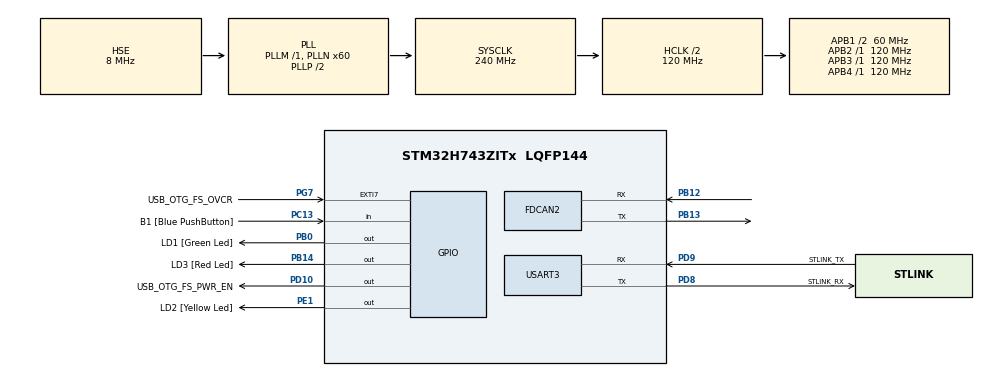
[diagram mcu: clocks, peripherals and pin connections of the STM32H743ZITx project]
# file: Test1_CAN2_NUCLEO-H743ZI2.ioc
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Mcu.Family=STM32H7
RCC.CortexFreq_Value=240000000
RCC.HPRE=RCC_HCLK_DIV2
PH0-OSC_IN\ (PH0).Signal=RCC_OSC_IN
PB14.GPIO_Label=LD3 [Red Led]
PC15-OSC32_OUT\ (OSC32_OUT).Mode=LSE-External-Oscillator
FDCAN2.RxFifo0ElmtsNbr=1
RCC.PLLFRACN=0
PB0.GPIO_Label=LD1 [Green Led]
RCC.PLL2FRACN=0
PC13.GPIO_Label=B1 [Blue PushButton]
PB13.Signal=FDCAN2_TX
PD9.Mode=Asynchronous
RCC.SYSCLKSource=RCC_SYSCLKSOURCE_PLLCLK
ProjectManager.StackSize=0x400
USART3.VirtualMode-Asynchronous=VM_ASYNC
RCC.HCLKFreq_Value=120000000
PD0.Signal=FDCAN1_RX
PD8.Signal=USART3_TX
PE1.Signal=GPIO_Output
RCC.HSE_VALUE=8000000
RCC.DIVM2=2
RCC.DIVM1=1
PD1.GPIO_Speed=GPIO_SPEED_FREQ_VERY_HIGH
FDCAN2.NominalSyncJumpWidth=8
RCC.APB3Freq_Value=120000000
Mcu.Package=LQFP144
PB12.Mode=FDCAN_Activate
RCC.PLL3FRACN=0
PC14-OSC32_IN\ (OSC32_IN).Mode=LSE-External-Oscillator
RCC.APB4Freq_Value=120000000
RCC.FDCANCLockSelection=RCC_FDCANCLKSOURCE_PLL2
PB13.Mode=FDCAN_Activate
FDCAN2.StdFiltersNbr=1
PH0-OSC_IN\ (PH0).Mode=HSE-External-Clock-Source
RCC.PLLSourceVirtual=RCC_PLLSOURCE_HSE
RCC.DIVQ2=14
RCC.DIVQ1=12
PG7.Signal=GPXTI7
PD9.GPIO_Label=STLINK_TX
FDCAN2.ProtocolException=ENABLE
PC13.Signal=GPIO_Input
PD1.Signal=FDCAN1_TX
RCC.D2PPRE1=RCC_APB1_DIV2
PD9.Signal=USART3_RX
RCC.PWR_Regulator_Voltage_Scale=PWR_REGULATOR_VOLTAGE_SCALE2
PH1-OSC_OUT\ (PH1).Signal=RCC_OSC_OUT
PD0.GPIO_Speed=GPIO_SPEED_FREQ_VERY_HIGH
NVIC.FDCAN2_IT0_IRQn=true\:0\:0\:false\:false\:true\:true\:true
PD8.GPIO_Label=STLINK_RX
FDCAN2.NominalTimeSeg1=31
PD10.Signal=GPIO_Output
FDCAN2.NominalTimeSeg2=8
ProjectManager.TargetToolchain=STM32CubeIDE
PC15-OSC32_OUT\ (OSC32_OUT).Signal=RCC_OSC32_OUT
RCC.DIVN2=140
RCC.DIVN1=60
RCC.USBFreq_Value=40000000
PD10.GPIO_Label=USB_OTG_FS_PWR_EN
PD8.Mode=Asynchronous
PB14.Signal=GPIO_Output
board=NUCLEO-H743ZI2
PE1.GPIO_Label=LD2 [Yellow Led]
RCC.APB2Freq_Value=120000000
PG7.GPIO_Label=USB_OTG_FS_OVCR
RCC.ADCFreq_Value=280000000
Mcu.Name=STM32H743ZITx
RCC.SYSCLKFreq_VALUE=240000000
PC14-OSC32_IN\ (OSC32_IN).Signal=RCC_OSC32_IN
FDCAN2.AutoRetransmission=ENABLE
ProjectManager.HeapSize=0x200
NVIC.PriorityGroup=NVIC_PRIORITYGROUP_4
FDCAN2.TxFifoQueueElmtsNbr=1
RCC.APB1Freq_Value=60000000
PB0.Signal=GPIO_Output
PB12.Signal=FDCAN2_RX

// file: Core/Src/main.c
/* USER CODE BEGIN Header */
/**
  ******************************************************************************
  * @file           : main.c
  * @brief          : Main program body
  ******************************************************************************
  * @attention
  *
  * <h2><center>&copy; Copyright (c) 2021 STMicroelectronics.
  * All rights reserved.</center></h2>
  *
  * This software component is licensed by ST under BSD 3-Clause license,
  * the "License"; You may not use this file except in compliance with the
  * License. You may obtain a copy of the License at:
  *                        opensource.org/licenses/BSD-3-Clause
  *
  ******************************************************************************
  */
/* USER CODE END Header */
#include "main.h"

/* USER CODE BEGIN PTD */
#define ELEMS(p) (sizeof(p)/sizeof(p[0]))
/* USER CODE END PTD */

FDCAN_HandleTypeDef hfdcan2;

UART_HandleTypeDef huart3;

/* USER CODE BEGIN PV */

volatile unsigned long int Licznikms;
volatile uint16_t Timer_sys[6];
volatile unsigned long int uwTickms;
volatile unsigned int Tickms;
//volatile unsigned long int Ticks;
volatile unsigned long int g_COUNT_SEC;

uint32_t g_CAN_Error;
HAL_FDCAN_StateTypeDef g_CAN_State;
FDCAN_RxHeaderTypeDef RxHeader;
uint8_t RxData[8];
FDCAN_TxHeaderTypeDef TxHeader;
uint8_t TxData[8];

FDCAN_RxHeaderTypeDef RxHeader2;
uint8_t RxData2[8];
FDCAN_TxHeaderTypeDef TxHeader2;
uint8_t TxData2[8];

HAL_StatusTypeDef myState;
uint8_t myTxData[8];
uint32_t my_Data_Can;

/* USER CODE END PV */

void SystemClock_Config(void);
static void MX_GPIO_Init(void);
static void MX_USART3_UART_Init(void);
static void MX_FDCAN2_Init(void);

int main(void)
{

  /* MCU Configuration--------------------------------------------------------*/

  /* Reset of all peripherals, Initializes the Flash interface and the Systick. */
  HAL_Init();

  /* Configure the system clock */
  SystemClock_Config();

  /* Initialize all configured peripherals */
  MX_GPIO_Init();
  MX_USART3_UART_Init();
  MX_FDCAN2_Init();

  /* Infinite loop */
  while (1)
  {

    /* USER CODE BEGIN 3 */
	  if (Timer_sys[1] == 0)
	  {
		 Timer_sys[1] = 100;
		 HAL_GPIO_TogglePin(LD2_GPIO_Port,LD2_Pin);
		  my_Data_Can++;
		  myTxData[0] = my_Data_Can;
		  myTxData[1] = my_Data_Can >> 8;
		  myTxData[2] = my_Data_Can >> 16;
		  myTxData[3] = my_Data_Can >> 24;
		  //HAL_FDCAN_AddMessageToTxFifoQ(&hfdcan1, &TxHeader, myTxData);
		  //g_CAN_Error = HAL_FDCAN_GetError(&hfdcan1);
		  //g_CAN_State = HAL_FDCAN_GetState(&hfdcan1);

		  HAL_FDCAN_AddMessageToTxFifoQ(&hfdcan2, &TxHeader, myTxData);
		  g_CAN_Error = HAL_FDCAN_GetError(&hfdcan2);
		  g_CAN_State = HAL_FDCAN_GetState(&hfdcan2);
		  if (g_CAN_Error != 0) HAL_GPIO_TogglePin(LD3_GPIO_Port,LD3_Pin);

	  }
  }
  /* USER CODE END 3 */
}

void SystemClock_Config(void)
{
  RCC_OscInitTypeDef RCC_OscInitStruct = {0};
  RCC_ClkInitTypeDef RCC_ClkInitStruct = {0};

  /** Supply configuration update enable
  */
  HAL_PWREx_ConfigSupply(PWR_LDO_SUPPLY);
  /** Configure the main internal regulator output voltage
  */
  __HAL_PWR_VOLTAGESCALING_CONFIG(PWR_REGULATOR_VOLTAGE_SCALE2);

  while(!__HAL_PWR_GET_FLAG(PWR_FLAG_VOSRDY)) {}
  /** Macro to configure the PLL clock source
  */
  __HAL_RCC_PLL_PLLSOURCE_CONFIG(RCC_PLLSOURCE_HSE);
  /** Initializes the RCC Oscillators according to the specified parameters
  * in the RCC_OscInitTypeDef structure.
  */
  RCC_OscInitStruct.OscillatorType = RCC_OSCILLATORTYPE_HSE;
  RCC_OscInitStruct.HSEState = RCC_HSE_BYPASS;
  RCC_OscInitStruct.PLL.PLLState = RCC_PLL_ON;
  RCC_OscInitStruct.PLL.PLLSource = RCC_PLLSOURCE_HSE;
  RCC_OscInitStruct.PLL.PLLM = 1;
  RCC_OscInitStruct.PLL.PLLN = 60;
  RCC_OscInitStruct.PLL.PLLP = 2;
  RCC_OscInitStruct.PLL.PLLQ = 12;
  RCC_OscInitStruct.PLL.PLLR = 2;
  RCC_OscInitStruct.PLL.PLLRGE = RCC_PLL1VCIRANGE_3;
  RCC_OscInitStruct.PLL.PLLVCOSEL = RCC_PLL1VCOWIDE;
  RCC_OscInitStruct.PLL.PLLFRACN = 0;
  if (HAL_RCC_OscConfig(&RCC_OscInitStruct) != HAL_OK)
  {
    Error_Handler();
  }
  /** Initializes the CPU, AHB and APB buses clocks
  */
  RCC_ClkInitStruct.ClockType = RCC_CLOCKTYPE_HCLK|RCC_CLOCKTYPE_SYSCLK
                              |RCC_CLOCKTYPE_PCLK1|RCC_CLOCKTYPE_PCLK2
                              |RCC_CLOCKTYPE_D3PCLK1|RCC_CLOCKTYPE_D1PCLK1;
  RCC_ClkInitStruct.SYSCLKSource = RCC_SYSCLKSOURCE_PLLCLK;
  RCC_ClkInitStruct.SYSCLKDivider = RCC_SYSCLK_DIV1;
  RCC_ClkInitStruct.AHBCLKDivider = RCC_HCLK_DIV2;
  RCC_ClkInitStruct.APB3CLKDivider = RCC_APB3_DIV1;
  RCC_ClkInitStruct.APB1CLKDivider = RCC_APB1_DIV2;
  RCC_ClkInitStruct.APB2CLKDivider = RCC_APB2_DIV1;
  RCC_ClkInitStruct.APB4CLKDivider = RCC_APB4_DIV1;

  if (HAL_RCC_ClockConfig(&RCC_ClkInitStruct, FLASH_LATENCY_2) != HAL_OK)
  {
    Error_Handler();
  }
}

static void MX_FDCAN2_Init(void)
{

  hfdcan2.Instance = FDCAN2;
  hfdcan2.Init.FrameFormat = FDCAN_FRAME_CLASSIC;
  hfdcan2.Init.Mode = FDCAN_MODE_NORMAL;
  hfdcan2.Init.AutoRetransmission = ENABLE;
  hfdcan2.Init.TransmitPause = DISABLE;
  hfdcan2.Init.ProtocolException = ENABLE;
  hfdcan2.Init.NominalPrescaler = 1;
  hfdcan2.Init.NominalSyncJumpWidth = 8;
  hfdcan2.Init.NominalTimeSeg1 = 31;
  hfdcan2.Init.NominalTimeSeg2 = 8;
  hfdcan2.Init.DataPrescaler = 1;
  hfdcan2.Init.DataSyncJumpWidth = 1;
  hfdcan2.Init.DataTimeSeg1 = 1;
  hfdcan2.Init.DataTimeSeg2 = 1;
  hfdcan2.Init.MessageRAMOffset = 0;
  hfdcan2.Init.StdFiltersNbr = 1;
  hfdcan2.Init.ExtFiltersNbr = 0;
  hfdcan2.Init.RxFifo0ElmtsNbr = 1;
  hfdcan2.Init.RxFifo0ElmtSize = FDCAN_DATA_BYTES_8;
  hfdcan2.Init.RxFifo1ElmtsNbr = 0;
  hfdcan2.Init.RxFifo1ElmtSize = FDCAN_DATA_BYTES_8;
  hfdcan2.Init.RxBuffersNbr = 0;
  hfdcan2.Init.RxBufferSize = FDCAN_DATA_BYTES_8;
  hfdcan2.Init.TxEventsNbr = 0;
  hfdcan2.Init.TxBuffersNbr = 0;
  hfdcan2.Init.TxFifoQueueElmtsNbr = 1;
  hfdcan2.Init.TxFifoQueueMode = FDCAN_TX_FIFO_OPERATION;
  hfdcan2.Init.TxElmtSize = FDCAN_DATA_BYTES_8;
  if (HAL_FDCAN_Init(&hfdcan2) != HAL_OK)
  {
    Error_Handler();
  }
  /* USER CODE BEGIN FDCAN2_Init 2 */

  FDCAN_FilterTypeDef sFilterConfig;

  /* Configure Rx filter */
  sFilterConfig.IdType = FDCAN_STANDARD_ID;
  sFilterConfig.FilterIndex = 0;
  sFilterConfig.FilterType = FDCAN_FILTER_MASK;
  sFilterConfig.FilterConfig = FDCAN_FILTER_TO_RXFIFO0;
  sFilterConfig.FilterID1 = 0x321;
  sFilterConfig.FilterID2 = 0x7FF;
  if (HAL_FDCAN_ConfigFilter(&hfdcan2, &sFilterConfig) != HAL_OK)
  {
    /* Filter configuration Error */
    Error_Handler();
  }

  /* Configure global filter to reject all non-matching frames */
  HAL_FDCAN_ConfigGlobalFilter(&hfdcan2, FDCAN_REJECT, FDCAN_REJECT, FDCAN_REJECT_REMOTE, FDCAN_REJECT_REMOTE);

  /* Start the FDCAN module */
  if (HAL_FDCAN_Start(&hfdcan2) != HAL_OK)
  {
    /* Start Error */
    Error_Handler();
  }

  if (HAL_FDCAN_ActivateNotification(&hfdcan2, FDCAN_IT_RX_FIFO0_NEW_MESSAGE, 0) != HAL_OK)
  {
    /* Notification Error */
    Error_Handler();
  }

  /* Prepare Tx Header */
  TxHeader.Identifier = 0x321;
  TxHeader.IdType = FDCAN_STANDARD_ID;
  TxHeader.TxFrameType = FDCAN_DATA_FRAME;
  TxHeader.DataLength = FDCAN_DLC_BYTES_8;
  TxHeader.ErrorStateIndicator = FDCAN_ESI_ACTIVE;
  TxHeader.BitRateSwitch = FDCAN_BRS_OFF;
  TxHeader.FDFormat = FDCAN_CLASSIC_CAN;
  TxHeader.TxEventFifoControl = FDCAN_NO_TX_EVENTS;
  TxHeader.MessageMarker = 0;

  /* USER CODE END FDCAN2_Init 2 */

}

static void MX_USART3_UART_Init(void)
{

  huart3.Instance = USART3;
  huart3.Init.BaudRate = 115200;
  huart3.Init.WordLength = UART_WORDLENGTH_8B;
  huart3.Init.StopBits = UART_STOPBITS_1;
  huart3.Init.Parity = UART_PARITY_NONE;
  huart3.Init.Mode = UART_MODE_TX_RX;
  huart3.Init.HwFlowCtl = UART_HWCONTROL_NONE;
  huart3.Init.OverSampling = UART_OVERSAMPLING_16;
  huart3.Init.OneBitSampling = UART_ONE_BIT_SAMPLE_DISABLE;
  huart3.Init.ClockPrescaler = UART_PRESCALER_DIV1;
  huart3.AdvancedInit.AdvFeatureInit = UART_ADVFEATURE_NO_INIT;
  if (HAL_UART_Init(&huart3) != HAL_OK)
  {
    Error_Handler();
  }
  if (HAL_UARTEx_SetTxFifoThreshold(&huart3, UART_TXFIFO_THRESHOLD_1_8) != HAL_OK)
  {
    Error_Handler();
  }
  if (HAL_UARTEx_SetRxFifoThreshold(&huart3, UART_RXFIFO_THRESHOLD_1_8) != HAL_OK)
  {
    Error_Handler();
  }
  if (HAL_UARTEx_DisableFifoMode(&huart3) != HAL_OK)
  {
    Error_Handler();
  }

}

static void MX_GPIO_Init(void)
{
  GPIO_InitTypeDef GPIO_InitStruct = {0};

  /* GPIO Ports Clock Enable */
  __HAL_RCC_GPIOC_CLK_ENABLE();
  __HAL_RCC_GPIOH_CLK_ENABLE();
  __HAL_RCC_GPIOB_CLK_ENABLE();
  __HAL_RCC_GPIOD_CLK_ENABLE();
  __HAL_RCC_GPIOG_CLK_ENABLE();
  __HAL_RCC_GPIOE_CLK_ENABLE();

  /*Configure GPIO pin Output Level */
  HAL_GPIO_WritePin(GPIOB, LD1_Pin|LD3_Pin, GPIO_PIN_RESET);

  /*Configure GPIO pin Output Level */
  HAL_GPIO_WritePin(USB_OTG_FS_PWR_EN_GPIO_Port, USB_OTG_FS_PWR_EN_Pin, GPIO_PIN_RESET);

  /*Configure GPIO pin Output Level */
  HAL_GPIO_WritePin(LD2_GPIO_Port, LD2_Pin, GPIO_PIN_RESET);

  /*Configure GPIO pin : B1_Pin */
  GPIO_InitStruct.Pin = B1_Pin;
  GPIO_InitStruct.Mode = GPIO_MODE_INPUT;
  GPIO_InitStruct.Pull = GPIO_NOPULL;
  HAL_GPIO_Init(B1_GPIO_Port, &GPIO_InitStruct);

  /*Configure GPIO pins : LD1_Pin LD3_Pin */
  GPIO_InitStruct.Pin = LD1_Pin|LD3_Pin;
  GPIO_InitStruct.Mode = GPIO_MODE_OUTPUT_PP;
  GPIO_InitStruct.Pull = GPIO_NOPULL;
  GPIO_InitStruct.Speed = GPIO_SPEED_FREQ_LOW;
  HAL_GPIO_Init(GPIOB, &GPIO_InitStruct);

  /*Configure GPIO pin : USB_OTG_FS_PWR_EN_Pin */
  GPIO_InitStruct.Pin = USB_OTG_FS_PWR_EN_Pin;
  GPIO_InitStruct.Mode = GPIO_MODE_OUTPUT_PP;
  GPIO_InitStruct.Pull = GPIO_NOPULL;
  GPIO_InitStruct.Speed = GPIO_SPEED_FREQ_LOW;
  HAL_GPIO_Init(USB_OTG_FS_PWR_EN_GPIO_Port, &GPIO_InitStruct);

  /*Configure GPIO pin : USB_OTG_FS_OVCR_Pin */
  GPIO_InitStruct.Pin = USB_OTG_FS_OVCR_Pin;
  GPIO_InitStruct.Mode = GPIO_MODE_IT_RISING;
  GPIO_InitStruct.Pull = GPIO_NOPULL;
  HAL_GPIO_Init(USB_OTG_FS_OVCR_GPIO_Port, &GPIO_InitStruct);

  /*Configure GPIO pins : PD0 PD1 */
  GPIO_InitStruct.Pin = GPIO_PIN_0|GPIO_PIN_1;
  GPIO_InitStruct.Mode = GPIO_MODE_AF_PP;
  GPIO_InitStruct.Pull = GPIO_NOPULL;
  GPIO_InitStruct.Speed = GPIO_SPEED_FREQ_VERY_HIGH;
  GPIO_InitStruct.Alternate = GPIO_AF9_FDCAN1;
  HAL_GPIO_Init(GPIOD, &GPIO_InitStruct);

  /*Configure GPIO pin : LD2_Pin */
  GPIO_InitStruct.Pin = LD2_Pin;
  GPIO_InitStruct.Mode = GPIO_MODE_OUTPUT_PP;
  GPIO_InitStruct.Pull = GPIO_NOPULL;
  GPIO_InitStruct.Speed = GPIO_SPEED_FREQ_LOW;
  HAL_GPIO_Init(LD2_GPIO_Port, &GPIO_InitStruct);

}

/* USER CODE BEGIN 4 */

/**
  * @brief  Rx FIFO 0 callback.
  * @param  hfdcan: pointer to an FDCAN_HandleTypeDef structure that contains
  *         the configuration information for the specified FDCAN.
  * @param  RxFifo0ITs: indicates which Rx FIFO 0 interrupts are signalled.
  *                     This parameter can be any combination of @arg FDCAN_Rx_Fifo0_Interrupts.
  * @retval None
  */
void HAL_FDCAN_RxFifo0Callback(FDCAN_HandleTypeDef *hfdcan, uint32_t RxFifo0ITs)
{
  if((RxFifo0ITs & FDCAN_IT_RX_FIFO0_NEW_MESSAGE) != RESET)
  {
    /* Retrieve Rx messages from RX FIFO0 */
    if (HAL_FDCAN_GetRxMessage(hfdcan, FDCAN_RX_FIFO0, &RxHeader, RxData) != HAL_OK)
    {
    /* Reception Error */
    Error_Handler();
    }

    //HAL_GPIO_TogglePin(LD3_GPIO_Port,LD3_Pin);

    /* Display LEDx */
    if ((RxHeader.Identifier == 0x321) && (RxHeader.IdType == FDCAN_STANDARD_ID) && (RxHeader.DataLength == FDCAN_DLC_BYTES_8))
    {
      //LED_Display(RxData[0]);
      //ubKeyNumber = RxData[0];
    	HAL_GPIO_TogglePin(LD1_GPIO_Port,LD1_Pin);
    }

    if (HAL_FDCAN_ActivateNotification(hfdcan, FDCAN_IT_RX_FIFO0_NEW_MESSAGE, 0) != HAL_OK)
    {
      /* Notification Error */
      Error_Handler();
    }
  }
}

void HAL_SYSTICK_Callback(void)
{
	uint16_t t_timer;
	uint8_t i;

	Licznikms++;                        /* increment counter necessary in Delay() */
	uwTickms++;
	Tickms++;

	if (Tickms >= 1000)
	{
		Tickms = 0;
		//Ticks++;
		g_COUNT_SEC++;
	}

	// obsluga timerow systemowych
	for (i = 0; i< ELEMS(Timer_sys); i++)
	{
		t_timer = Timer_sys[i];
		if (t_timer) Timer_sys[i] = --t_timer;

	}
}

/* USER CODE END 4 */

void Error_Handler(void)
{
  __disable_irq();
  while (1)
  {
  }
}

/************************ (C) COPYRIGHT STMicroelectronics *****END OF FILE****/
